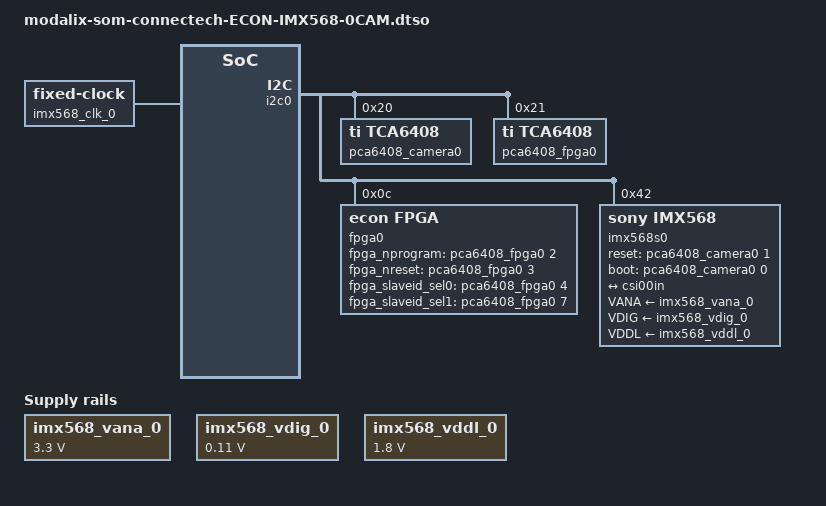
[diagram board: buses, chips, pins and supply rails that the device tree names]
// SPDX-License-Identifier: (GPL-2.0+ OR MIT)
/*
 * Copyright (c) 2026 SiMa ai
 */

/dts-v1/;
/plugin/;

#include "modalix-som-connectech-0CAM.dtsi"

&{/} {
    imx568_vana_0: csi0_fixedregulator@0 {
        compatible = "regulator-fixed";
        regulator-name = "imx568_vana_0";
        regulator-min-microvolt = <3300000>;
        regulator-max-microvolt = <3300000>;
        enable-active-high;
        startup-delay-us = <300000>;
        regulator-always-on;
    };

    imx568_vdig_0: csi0_fixedregulator@1 {
        compatible = "regulator-fixed";
        regulator-name = "imx568_vdig_0";
        regulator-min-microvolt = <110000>;
        regulator-max-microvolt = <110000>;
        regulator-always-on;
    };

    imx568_vddl_0: csi0_fixedregulator@2 {
        compatible = "regulator-fixed";
        regulator-name = "imx568_vddl_0";
        regulator-min-microvolt = <1800000>;
        regulator-max-microvolt = <1800000>;
        regulator-always-on;
    };

    imx568_clk_0: csi0_camera-clk {
        compatible = "fixed-clock";
        #clock-cells = <0>;
        clock-frequency = <37125000>;
    };
};

&csi00in {
    clock-lanes = <0>;
    data-lanes = <1 2>;
    link-frequencies = /bits/ 64 <450000000>;
    remote-endpoint = <&cam00out>;
    clock-continuous;
};

&i2c0 {
    pca6408_camera0: pca6408@20 {
        compatible = "ti,tca6408";
        gpio-controller;
        #gpio-cells = <2>;
        reg = <0x20>;
        status = "okay";
    };

    pca6408_fpga0: pca6408@21 {
        compatible = "ti,tca6408";
        gpio-controller;
        #gpio-cells = <2>;
        reg = <0x21>;
        status = "okay";
    };

    fpga0: fpga@c {
        compatible = "econ,fpga";
        reg = <0x0c>;
        status = "okay";
        fpga_nprogram-gpios = <&pca6408_fpga0 2 0>;
        fpga_nreset-gpios = <&pca6408_fpga0 3 0>;
        fpga_slaveid_sel0-gpios = <&pca6408_fpga0 4 0>;
        fpga_slaveid_sel1-gpios = <&pca6408_fpga0 7 0>;
    };

    imx568s0: imx568@42 {
        compatible = "sony,imx568";
        reg = <0x42>;
        clocks = <&imx568_clk_0>;
        clock-names = "xclk";
        VANA-supply = <&imx568_vana_0>;
        VDIG-supply = <&imx568_vdig_0>;
        VDDL-supply = <&imx568_vddl_0>;
        reset-gpios = <&pca6408_camera0 1 0>;
        boot-gpios  = <&pca6408_camera0 0 0>;
        camera_mipi_lanes = <2>;
        cam_fw_name = "imx568_cam_fw.bin";

        port@1 {
            cam00out: endpoint@0 {
                clock-lanes = <0>;
                data-lanes = <1 2>;
                link-frequencies = /bits/ 64 <594000000>;
                remote-endpoint = <&csi00in>;
                clock-continuous;
            };
        };
    };
};
